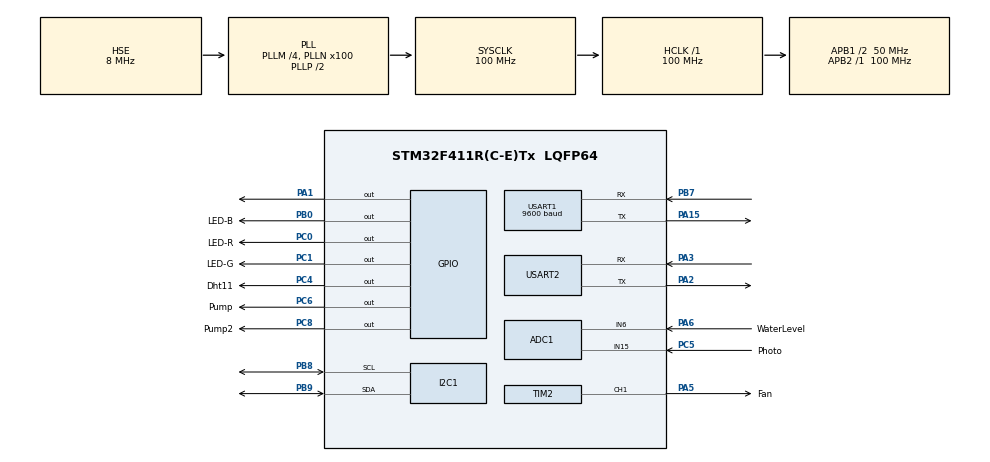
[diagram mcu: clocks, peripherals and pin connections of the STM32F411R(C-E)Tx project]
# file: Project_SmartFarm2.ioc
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ADC1.Channel-1\#ChannelRegularConversion=ADC_CHANNEL_15
ADC1.Channel-2\#ChannelRegularConversion=ADC_CHANNEL_6
ADC1.ContinuousConvMode=ENABLE
ADC1.DMAContinuousRequests=ENABLE
ADC1.NbrOfConversion=2
ADC1.NbrOfConversionFlag=1
ADC1.Rank-1\#ChannelRegularConversion=1
ADC1.Rank-2\#ChannelRegularConversion=2
ADC1.SamplingTime-1\#ChannelRegularConversion=ADC_SAMPLETIME_144CYCLES
ADC1.SamplingTime-2\#ChannelRegularConversion=ADC_SAMPLETIME_144CYCLES
ADC1.master=1
Dma.ADC1.0.Direction=DMA_PERIPH_TO_MEMORY
Dma.ADC1.0.FIFOMode=DMA_FIFOMODE_DISABLE
Dma.ADC1.0.Instance=DMA2_Stream0
Dma.ADC1.0.MemDataAlignment=DMA_MDATAALIGN_HALFWORD
Dma.ADC1.0.MemInc=DMA_MINC_ENABLE
Dma.ADC1.0.Mode=DMA_NORMAL
Dma.ADC1.0.PeriphDataAlignment=DMA_PDATAALIGN_HALFWORD
Dma.ADC1.0.PeriphInc=DMA_PINC_DISABLE
Dma.ADC1.0.Priority=DMA_PRIORITY_LOW
Dma.Request0=ADC1
Dma.Request1=USART1_RX
Dma.Request2=USART1_TX
Dma.USART1_RX.1.Direction=DMA_PERIPH_TO_MEMORY
Dma.USART1_RX.1.FIFOMode=DMA_FIFOMODE_DISABLE
Dma.USART1_RX.1.Instance=DMA2_Stream2
Dma.USART1_RX.1.MemDataAlignment=DMA_MDATAALIGN_BYTE
Dma.USART1_RX.1.MemInc=DMA_MINC_ENABLE
Dma.USART1_RX.1.Mode=DMA_NORMAL
Dma.USART1_RX.1.PeriphDataAlignment=DMA_PDATAALIGN_BYTE
Dma.USART1_RX.1.PeriphInc=DMA_PINC_DISABLE
Dma.USART1_RX.1.Priority=DMA_PRIORITY_LOW
Dma.USART1_TX.2.Direction=DMA_MEMORY_TO_PERIPH
Dma.USART1_TX.2.FIFOMode=DMA_FIFOMODE_DISABLE
Dma.USART1_TX.2.Instance=DMA2_Stream7
Dma.USART1_TX.2.MemDataAlignment=DMA_MDATAALIGN_BYTE
Dma.USART1_TX.2.MemInc=DMA_MINC_ENABLE
Dma.USART1_TX.2.Mode=DMA_NORMAL
Dma.USART1_TX.2.PeriphDataAlignment=DMA_PDATAALIGN_BYTE
Dma.USART1_TX.2.PeriphInc=DMA_PINC_DISABLE
Dma.USART1_TX.2.Priority=DMA_PRIORITY_LOW
Mcu.Family=STM32F4
Mcu.Name=STM32F411R(C-E)Tx
Mcu.Package=LQFP64
NVIC.ADC_IRQn=true\:2\:0\:true\:false\:true\:true\:true\:true
NVIC.DMA2_Stream0_IRQn=true\:0\:0\:false\:false\:true\:false\:true\:true
NVIC.DMA2_Stream2_IRQn=true\:0\:0\:false\:false\:true\:false\:true\:true
NVIC.DMA2_Stream7_IRQn=true\:0\:0\:false\:false\:true\:false\:true\:true
NVIC.PriorityGroup=NVIC_PRIORITYGROUP_4
NVIC.TIM3_IRQn=true\:14\:0\:true\:false\:true\:true\:true\:true
NVIC.USART1_IRQn=true\:0\:0\:false\:false\:true\:true\:true\:true
NVIC.USART2_IRQn=true\:0\:0\:false\:false\:true\:true\:true\:true
PA1.Signal=GPIO_Output
PA13.Mode=Serial_Wire
PA13.Signal=SYS_JTMS-SWDIO
PA14.Mode=Serial_Wire
PA14.Signal=SYS_JTCK-SWCLK
PA15.Mode=Asynchronous
PA15.Signal=USART1_TX
PA2.Mode=Asynchronous
PA2.Signal=USART2_TX
PA3.Mode=Asynchronous
PA3.Signal=USART2_RX
PA5.GPIO_Label=Fan
PA5.GPIO_Speed=GPIO_SPEED_FREQ_HIGH
PA5.Signal=S_TIM2_CH1_ETR
PA6.GPIO_Label=WaterLevel
PA6.Signal=ADCx_IN6
PB0.GPIO_Label=LED-B
PB0.Signal=GPIO_Output
PB7.Mode=Asynchronous
PB7.Signal=USART1_RX
PB8.Mode=I2C
PB8.Signal=I2C1_SCL
PB9.Mode=I2C
PB9.Signal=I2C1_SDA
PC0.GPIO_Label=LED-R
PC0.Signal=GPIO_Output
PC1.GPIO_Label=LED-G
PC1.Signal=GPIO_Output
PC4.GPIO_Label=Dht11
PC4.GPIO_Speed=GPIO_SPEED_FREQ_HIGH
PC4.Signal=GPIO_Output
PC5.GPIO_Label=Photo
PC5.Signal=ADCx_IN15
PC6.GPIO_Label=Pump
PC6.Signal=GPIO_Output
PC8.GPIO_Label=Pump2
PC8.Signal=GPIO_Output
PH0\ -\ OSC_IN.Mode=HSE-External-Oscillator
PH0\ -\ OSC_IN.Signal=RCC_OSC_IN
PH1\ -\ OSC_OUT.Mode=HSE-External-Oscillator
PH1\ -\ OSC_OUT.Signal=RCC_OSC_OUT
ProjectManager.HeapSize=0x200
ProjectManager.StackSize=0x400
ProjectManager.TargetToolchain=STM32CubeIDE
RCC.48MHZClocksFreq_Value=50000000
RCC.AHBFreq_Value=100000000
RCC.APB1CLKDivider=RCC_HCLK_DIV2
RCC.APB1Freq_Value=50000000
RCC.APB1TimFreq_Value=100000000
RCC.APB2Freq_Value=100000000
RCC.APB2TimFreq_Value=100000000
RCC.CortexFreq_Value=100000000
RCC.HCLKFreq_Value=100000000
RCC.HSE_VALUE=8000000
RCC.HSI_VALUE=16000000
RCC.LSE_VALUE=32768
RCC.PLLM=4
RCC.PLLN=100
RCC.PLLSourceVirtual=RCC_PLLSOURCE_HSE
RCC.RCC_RTC_Clock_Source=RCC_RTCCLKSOURCE_LSI
RCC.RCC_RTC_Clock_SourceVirtual=RCC_RTCCLKSOURCE_LSI
RCC.SYSCLKFreq_VALUE=100000000
RCC.SYSCLKSource=RCC_SYSCLKSOURCE_PLLCLK
RCC.VCOOutputFreq_Value=200000000
SH.ADCx_IN15.0=ADC1_IN15,IN15
SH.ADCx_IN6.0=ADC1_IN6,IN6
SH.S_TIM2_CH1_ETR.0=TIM2_CH1,PWM Generation1 CH1
TIM11.Prescaler=100-1
TIM2.Channel-PWM\ Generation1\ CH1=TIM_CHANNEL_1
TIM2.Period=65535
TIM2.Prescaler=0
TIM3.Period=10000-1
TIM3.Prescaler=10000-1
USART1.BaudRate=9600
USART1.VirtualMode=VM_ASYNC
USART2.VirtualMode=VM_ASYNC
VP_TIM11_VS_ClockSourceINT.Mode=Enable_Timer
VP_TIM2_VS_ClockSourceINT.Mode=Internal
VP_TIM3_VS_ClockSourceINT.Mode=Internal
board=custom

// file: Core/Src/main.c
/* USER CODE BEGIN Header */
/**
 ******************************************************************************
 * @file           : main.c
 * @brief          : Main program body
 ******************************************************************************
 * @attention
 *
 * Copyright (c) 2025 STMicroelectronics.
 * All rights reserved.
 *
 * This software is licensed under terms that can be found in the LICENSE file
 * in the root directory of this software component.
 * If no LICENSE file comes with this software, it is provided AS-IS.
 *
 ******************************************************************************
 */
/* USER CODE END Header */
#include "main.h"
#include "adc.h"
#include "dma.h"
#include "i2c.h"
#include "tim.h"
#include "usart.h"
#include "gpio.h"

/* USER CODE BEGIN Includes */

#include "dht.h"
#include "I2C_LCD.h"

/* USER CODE END Includes */

/* USER CODE BEGIN PD */

#ifdef __GNUC__
/* With GCC, small printf (option LD Linker->Libraries->Small printf
     set to 'Yes') calls __io_putchar() */
#define PUTCHAR_PROTOTYPE int __io_putchar(int ch)
#else
#define PUTCHAR_PROTOTYPE int fputc(int ch, FILE *f)
#endif /* __GNUC__ */
PUTCHAR_PROTOTYPE
{
  /* Place your implementation of fputc here */
  /* e.g. write a character to the EVAL_COM1 and Loop until the end of transmission */
  HAL_UART_Transmit(&huart2, (uint8_t *)&ch, 1, 0xFFFF);

  return ch;
}

/* USER CODE END PD */

/* USER CODE BEGIN PV */

DHT11 dht;
char lcdBuffer[16];
volatile uint16_t adcValue[2];

#define Light       (adcValue[0]) // ADC값 배열0번 조도
#define WaterLevel  (adcValue[1]) // ADC값 배열1번 수위

// 물 수위 설정 전 코드
// volatile uint16_t adcValue;
// volatile uint16_t adcValue2;

uint8_t adcFlag = 0;
uint8_t rxData;
uint64_t WaterPumpCounter = 0;

/* USER CODE END PV */

void SystemClock_Config(void);
/* USER CODE BEGIN PFP */
void Command(uint8_t Data);
void Command(uint8_t Data)
{
  if(Data == 'L')// LED ON
  {
    HAL_GPIO_WritePin(LED_R_GPIO_Port, LED_R_Pin, 1);
    HAL_GPIO_WritePin(LED_G_GPIO_Port, LED_G_Pin, 1);
    HAL_GPIO_WritePin(LED_B_GPIO_Port, LED_B_Pin, 1);
    HAL_UART_Transmit(&huart1, (uint8_t *)"LED ON",
                      strlen("LED ON"), 0xFFFF);

  }

  if(Data == 'l')// LED OFF
  {
    HAL_GPIO_WritePin(LED_R_GPIO_Port, LED_R_Pin, 0);
    HAL_GPIO_WritePin(LED_G_GPIO_Port, LED_G_Pin, 0);
    HAL_GPIO_WritePin(LED_B_GPIO_Port, LED_B_Pin, 0);
    HAL_UART_Transmit(&huart1, (uint8_t *)"LED OFF",
                      strlen("LED OFF"), 0xFFFF);

  }

  if(Data == 'P')//Pump ON
  {
    HAL_GPIO_WritePin(Pump_GPIO_Port, Pump_Pin, 1);
    HAL_GPIO_WritePin(Pump2_GPIO_Port, Pump2_Pin, 0);
    HAL_UART_Transmit(&huart1, (uint8_t *)"Pump ON",
                      strlen("Pump ON"), 0xFFFF);
    //      HAL_TIM_Base_Start_IT(&htim3);
  }

  if(Data == 'p')//Pump OFF
  {
    //      __HAL_TIM_SET_COUNTER(&htim3, 0);
    //      HAL_TIM_Base_Stop_IT(&htim3);
    HAL_GPIO_WritePin(Pump_GPIO_Port, Pump_Pin, 0);
    HAL_GPIO_WritePin(Pump2_GPIO_Port, Pump2_Pin, 0);
    HAL_UART_Transmit(&huart1, (uint8_t *)"Pump OFF",
                      strlen("Pump OFF"), 0xFFFF);
  }

  if(Data == 'F')// FAN ON
  {
    TIM2->CCR1 = 65535;
    HAL_UART_Transmit(&huart1, (uint8_t *)"Fan ON",
                      strlen("Fan ON"), 0xFFFF);
  }

  if(Data == 'f')// FAN OFF
  {
    TIM2->CCR1 = 0;
    HAL_UART_Transmit(&huart1, (uint8_t *)"Fan OFF",
                      strlen("Fan OFF"), 0xFFFF);
  }

  if(Data == 'E')//EMERGENCY
  {
    HAL_GPIO_WritePin(LED_R_GPIO_Port, LED_R_Pin, 1);
    HAL_GPIO_WritePin(LED_G_GPIO_Port, LED_G_Pin, 0);
    HAL_GPIO_WritePin(LED_B_GPIO_Port, LED_B_Pin, 0);
    HAL_UART_Transmit(&huart1, (uint8_t *)"Emergency",
                      strlen("Emergency"), 0xFFFF);
  }

}

void updateLCD(void)
{
  lcdCommand(CLEAR_DISPLAY);
  HAL_Delay(2);  // Clear 명령 후 잠시 대기

  // 첫 번째 줄: 온도와 습도
  sprintf(lcdBuffer, "Temp:%dC ", dht.temperature);
  moveCursor(0, 0); // 첫번째줄 첫번째 시작
  lcdString(lcdBuffer);
  HAL_Delay(1);

  // 두 번째 줄: 조도값
  sprintf(lcdBuffer, "Humi:%d%%", dht.humidity); // 값바꿔줌
  moveCursor(1, 0); // 두번째줄 첫번째 시작
  lcdString(lcdBuffer);
}

void DHT_Reset(); // 온습도 사이클 조정
void DHT_Reset()
{
  dht11GpioMode(&dht, OUTPUT);
  HAL_GPIO_WritePin(dht.port, dht.pin, GPIO_PIN_SET);
}

// ADC 변환 완료 콜백
void HAL_ADC_ConvCpltCallback(ADC_HandleTypeDef* hadc)
{
  if(hadc->Instance == ADC1)
  {
    adcFlag = 1;  // ADC 변환 완료 플래그 설정
  }
}

void HAL_UART_RxCpltCallback(UART_HandleTypeDef *huart)
{
  if(huart->Instance == USART1) // 유아트1(블루투스)에 송신 되었을 때
  {
    //HAL_UART_Transmit_IT(&huart1, &rxData, sizeof(rxData));

    Command(rxData); // 값 입력시 출력 함수
    HAL_UART_Receive_IT(&huart1, &rxData, sizeof(rxData));
    // 다시 수신 대기상태

  }

  if(huart->Instance == USART2) // 유아트2(라즈베리)에 송신 되었을 때
  {

    Command(rxData); // 값 입력시 출력 함수
    HAL_UART_Receive_IT(&huart2, &rxData, sizeof(rxData));
    // 다시 수신 대기상태
  }
}

//  void HAL_TIM_PeriodElapsedCallback(TIM_HandleTypeDef *htim)
//  {
//    if (htim->Instance == TIM3)//모터 회전하라는 타이머 플레그가 세워지면
//    {
//
//      if(WaterPumpCounter >= 3)
//      {
//        WaterPumpCounter = 0;
//        __HAL_TIM_SET_COUNTER(&htim3, 0);
//        HAL_TIM_Base_Stop_IT(&htim3);
//        HAL_GPIO_WritePin(Pump_GPIO_Port, Pump_Pin, 0);
//      }
//      WaterPumpCounter++;
//    }
//  }

/* USER CODE END PFP */

int main(void)
{

  /* MCU Configuration--------------------------------------------------------*/

  /* Reset of all peripherals, Initializes the Flash interface and the Systick. */
  HAL_Init();

  /* Configure the system clock */
  SystemClock_Config();

  /* Initialize all configured peripherals */
  MX_GPIO_Init();
  MX_DMA_Init();
  MX_USART2_UART_Init();
  MX_ADC1_Init();
  MX_I2C1_Init();
  MX_TIM2_Init();
  MX_TIM11_Init();
  MX_TIM3_Init();
  MX_USART1_UART_Init();
  /* USER CODE BEGIN 2 */

  // 마이크로초 타이머 시작
  //  HAL_TIM_Base_Start(&htim11);
  //  HAL_Delay(100);  // 타이머 안정화 대기

  // LCD 초기화 전 충분한 대기시간
  // HAL_Delay(1000);
  lcdInit();
  HAL_Delay(200);
  // LCD 초기화 후 충분히 대기

  // LCD 테스트
  lcdCommand(CLEAR_DISPLAY);
  HAL_Delay(2);
  moveCursor(0, 0);
  lcdString("System Start...");
  HAL_Delay(1000); // 딜레이 빼면 안됨..

  // 온습도센서 Init , 초기화 및 GPIO 설정
  dht11Init(&dht, GPIOC, GPIO_PIN_4);

  // ADC로 저항값을 DMA로 받기위한 대기상태
  HAL_ADC_Start_DMA(&hadc1, (uint32_t *)adcValue, 2);
  //HAL_ADC_Start_DMA(&hadc1, (uint32_t*)&adcValue, 1);

  // 유아트 대기상태 ( 버튼 클릭시 유아트 필요 )
  HAL_UART_Receive_IT(&huart2, &rxData, sizeof(rxData));
  HAL_UART_Receive_IT(&huart1, &rxData, sizeof(rxData));

  // TIM3 PWM 시작 (DC 팬 모터용)
  HAL_TIM_PWM_Start(&htim2, TIM_CHANNEL_1);
  // __HAL_TIM_SET_COMPARE(&htim2, TIM_CHANNEL_1, 60000);

  /* USER CODE END 2 */

  /* Infinite loop */
  /* USER CODE BEGIN WHILE */

  dht11GpioMode(&dht, OUTPUT);
  HAL_GPIO_WritePin(dht.port, dht.pin, GPIO_PIN_SET);
  HAL_Delay(1000); // DHT11 안정화 대기

  while (1)
  {
    // DHT11 데이터 읽기 시도
    if(dht11Read(&dht))
    {
      // UART로 온습도와 조도값 전송
      printf("%d, %d, %d\n",
             dht.temperature,
             dht.humidity,
             Light);

      updateLCD();  // LCD 업데이트 현재 상태로 업데이트

      //        if(dht.temperature > 28)
      //        {
      //          TIM2->CCR1 = 65535;
      //        }
      //
      //
      //        if (Light < 1000)
      //        {
      //          HAL_GPIO_WritePin(LED_B_GPIO_Port, LED_B_Pin, 1);
      //
      //          HAL_GPIO_WritePin(Pump_GPIO_Port, Pump_Pin, 1);
      //          HAL_TIM_Base_Start_IT(&htim3);
      //
      //        }

      // 온습도 측정 포트설정 리셋
      DHT_Reset();
      HAL_Delay(2000);  // 2초 주기로 반복
      // ADC로 저항값을 DMA로 '다시' 받기위한 대기상태
      HAL_ADC_Start_DMA(&hadc1, (uint32_t *)adcValue, 2);

      //HAL_ADC_Start_DMA(&hadc1, (uint32_t*)&adcValue, 1);
    }

    else
    {
      printf("DHT11 Read Failed\r\n");
      // DHT11 리셋을 위한 처리
      DHT_Reset();
      HAL_Delay(1000);
    }

    /* USER CODE END WHILE */

  }
}

void SystemClock_Config(void)
{
  RCC_OscInitTypeDef RCC_OscInitStruct = {0};
  RCC_ClkInitTypeDef RCC_ClkInitStruct = {0};

  /** Configure the main internal regulator output voltage
   */
  __HAL_RCC_PWR_CLK_ENABLE();
  __HAL_PWR_VOLTAGESCALING_CONFIG(PWR_REGULATOR_VOLTAGE_SCALE1);

  /** Initializes the RCC Oscillators according to the specified parameters
   * in the RCC_OscInitTypeDef structure.
   */
  RCC_OscInitStruct.OscillatorType = RCC_OSCILLATORTYPE_HSE;
  RCC_OscInitStruct.HSEState = RCC_HSE_ON;
  RCC_OscInitStruct.PLL.PLLState = RCC_PLL_ON;
  RCC_OscInitStruct.PLL.PLLSource = RCC_PLLSOURCE_HSE;
  RCC_OscInitStruct.PLL.PLLM = 4;
  RCC_OscInitStruct.PLL.PLLN = 100;
  RCC_OscInitStruct.PLL.PLLP = RCC_PLLP_DIV2;
  RCC_OscInitStruct.PLL.PLLQ = 4;
  if (HAL_RCC_OscConfig(&RCC_OscInitStruct) != HAL_OK)
  {
    Error_Handler();
  }

  /** Initializes the CPU, AHB and APB buses clocks
   */
  RCC_ClkInitStruct.ClockType = RCC_CLOCKTYPE_HCLK|RCC_CLOCKTYPE_SYSCLK
      |RCC_CLOCKTYPE_PCLK1|RCC_CLOCKTYPE_PCLK2;
  RCC_ClkInitStruct.SYSCLKSource = RCC_SYSCLKSOURCE_PLLCLK;
  RCC_ClkInitStruct.AHBCLKDivider = RCC_SYSCLK_DIV1;
  RCC_ClkInitStruct.APB1CLKDivider = RCC_HCLK_DIV2;
  RCC_ClkInitStruct.APB2CLKDivider = RCC_HCLK_DIV1;

  if (HAL_RCC_ClockConfig(&RCC_ClkInitStruct, FLASH_LATENCY_3) != HAL_OK)
  {
    Error_Handler();
  }
}

void Error_Handler(void)
{
  __disable_irq();
  while (1)
  {
  }
}
